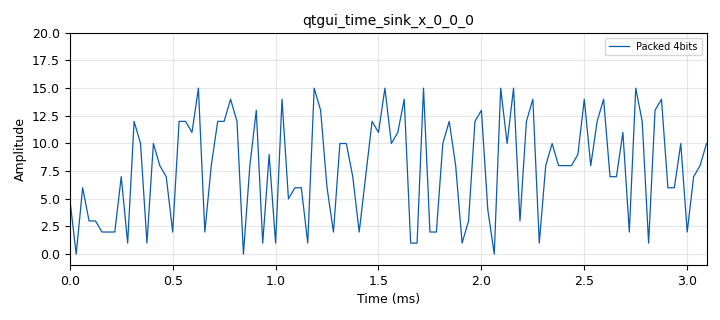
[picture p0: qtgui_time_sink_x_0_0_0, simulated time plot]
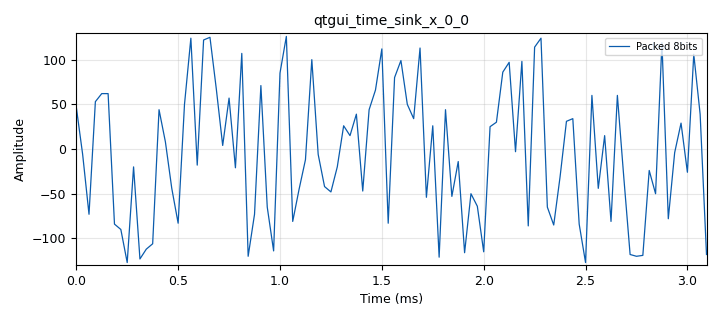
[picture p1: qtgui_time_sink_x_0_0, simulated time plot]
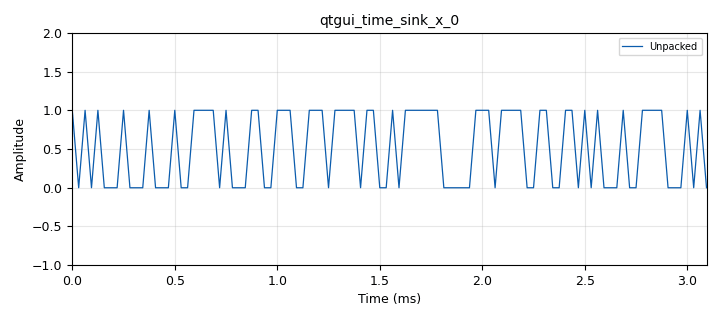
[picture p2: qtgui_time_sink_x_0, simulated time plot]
<?xml version='1.0' encoding='utf-8'?>
<?grc format='1' created='3.7.7'?>
<flow_graph>
<block>
<key>blocks_throttle</key>
<param><key>id</key><value>blocks_throttle_0</value></param>
<param><key>type</key><value>byte</value></param>
<param><key>samples_per_second</key><value>samp_rate</value></param>
</block>
<block>
<key>variable</key>
<param><key>id</key><value>samp_rate</value></param>
<param><key>value</key><value>32000</value></param>
</block>
<block>
<key>blocks_char_to_float</key>
<param><key>id</key><value>blocks_char_to_float_0_0</value></param>
<param><key>scale</key><value>1</value></param>
</block>
<block>
<key>blocks_pack_k_bits_bb</key>
<param><key>id</key><value>blocks_pack_k_bits_bb_0_0</value></param>
<param><key>k</key><value>4</value></param>
<param><key>alias</key><value>Pack 4</value></param>
</block>
<block>
<key>blocks_char_to_float</key>
<param><key>id</key><value>blocks_char_to_float_0_1</value></param>
<param><key>scale</key><value>1</value></param>
</block>
<block>
<key>blocks_char_to_float</key>
<param><key>id</key><value>blocks_char_to_float_0</value></param>
<param><key>scale</key><value>1</value></param>
</block>
<block>
<key>blocks_pack_k_bits_bb</key>
<param><key>id</key><value>blocks_pack_k_bits_bb_0</value></param>
<param><key>k</key><value>8</value></param>
<param><key>alias</key><value>Pack 8</value></param>
</block>
<block>
<key>analog_random_source_x</key>
<param><key>id</key><value>analog_random_source_x_0</value></param>
<param><key>type</key><value>byte</value></param>
<param><key>min</key><value>0</value></param>
<param><key>max</key><value>2</value></param>
<param><key>num_samps</key><value>1000</value></param>
<param><key>repeat</key><value>True</value></param>
</block>
<block>
<key>options</key>
<param><key>id</key><value>blocks_pack_k_bits</value></param>
<param><key>generate_options</key><value>qt_gui</value></param>
<param><key>category</key><value>Custom</value></param>
</block>
<block>
<key>qtgui_time_sink_x</key>
<param><key>id</key><value>qtgui_time_sink_x_0_0_0</value></param>
<param><key>type</key><value>float</value></param>
<param><key>name</key><value></value></param>
<param><key>size</key><value>100</value></param>
<param><key>srate</key><value>samp_rate</value></param>
<param><key>ymax</key><value>20</value></param>
<param><key>gui_hint</key><value>2,0,1,1</value></param>
<param><key>label1</key><value>Packed 4bits</value></param>
<param><key>color1</key><value>"blue"</value></param>
</block>
<block>
<key>qtgui_time_sink_x</key>
<param><key>id</key><value>qtgui_time_sink_x_0_0</value></param>
<param><key>type</key><value>float</value></param>
<param><key>name</key><value></value></param>
<param><key>size</key><value>100</value></param>
<param><key>srate</key><value>samp_rate</value></param>
<param><key>ymin</key><value>-130</value></param>
<param><key>ymax</key><value>130</value></param>
<param><key>gui_hint</key><value>1,0,1,1</value></param>
<param><key>label1</key><value>Packed 8bits</value></param>
<param><key>color1</key><value>"blue"</value></param>
</block>
<block>
<key>qtgui_time_sink_x</key>
<param><key>id</key><value>qtgui_time_sink_x_0</value></param>
<param><key>type</key><value>float</value></param>
<param><key>name</key><value></value></param>
<param><key>size</key><value>100</value></param>
<param><key>srate</key><value>samp_rate</value></param>
<param><key>ymax</key><value>2</value></param>
<param><key>gui_hint</key><value>0,0,1,1</value></param>
<param><key>label1</key><value>Unpacked</value></param>
<param><key>color1</key><value>"blue"</value></param>
</block>
<connection><source_block_id>blocks_char_to_float_0_1</source_block_id><sink_block_id>qtgui_time_sink_x_0</sink_block_id><source_key>0</source_key><sink_key>0</sink_key></connection>
<connection><source_block_id>analog_random_source_x_0</source_block_id><sink_block_id>blocks_throttle_0</sink_block_id><source_key>0</source_key><sink_key>0</sink_key></connection>
<connection><source_block_id>blocks_char_to_float_0_0</source_block_id><sink_block_id>qtgui_time_sink_x_0_0_0</sink_block_id><source_key>0</source_key><sink_key>0</sink_key></connection>
<connection><source_block_id>blocks_char_to_float_0</source_block_id><sink_block_id>qtgui_time_sink_x_0_0</sink_block_id><source_key>0</source_key><sink_key>0</sink_key></connection>
<connection><source_block_id>blocks_pack_k_bits_bb_0_0</source_block_id><sink_block_id>blocks_char_to_float_0_0</sink_block_id><source_key>0</source_key><sink_key>0</sink_key></connection>
<connection><source_block_id>blocks_pack_k_bits_bb_0</source_block_id><sink_block_id>blocks_char_to_float_0</sink_block_id><source_key>0</source_key><sink_key>0</sink_key></connection>
<connection><source_block_id>blocks_throttle_0</source_block_id><sink_block_id>blocks_pack_k_bits_bb_0_0</sink_block_id><source_key>0</source_key><sink_key>0</sink_key></connection>
<connection><source_block_id>blocks_throttle_0</source_block_id><sink_block_id>blocks_pack_k_bits_bb_0</sink_block_id><source_key>0</source_key><sink_key>0</sink_key></connection>
<connection><source_block_id>blocks_throttle_0</source_block_id><sink_block_id>blocks_char_to_float_0_1</sink_block_id><source_key>0</source_key><sink_key>0</sink_key></connection>
</flow_graph>
